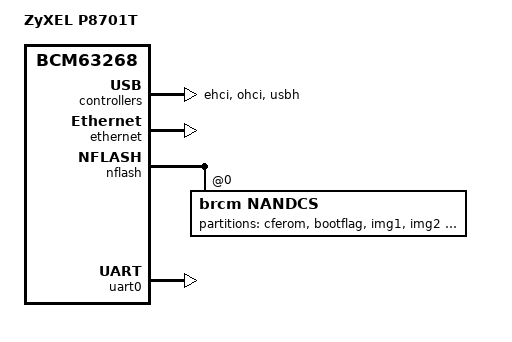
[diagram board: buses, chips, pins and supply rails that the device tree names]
// SPDX-License-Identifier: GPL-2.0-or-later

#include "bcm63268.dtsi"

/ {
	model = "ZyXEL P8701T";
	compatible = "zyxel,p8701t", "brcm,bcm63168", "brcm,bcm63268";

/*
	aliases {
		led-boot = &led_power_green;
		led-failsafe = &led_power_green;
		led-running = &led_power_green;
		led-upgrade = &led_power_green;
	};

	keys {
		compatible = "gpio-keys-polled";
		poll-interval = <100>;

		reset {
			label = "reset";
			gpios = <&gpio 32 GPIO_ACTIVE_LOW>;
			linux,code = <KEY_RESTART>;
			debounce-interval = <60>;
		};

		wps {
			label = "wps";
			gpios = <&gpio 33 GPIO_ACTIVE_LOW>;
			linux,code = <KEY_WPS_BUTTON>;
			debounce-interval = <60>;
		};
	};
*/
};

&ehci {
	status = "okay";
};

&ethernet {
	status = "okay";

	nvmem-cells = <&macaddr_cferom_6a0>;
	nvmem-cell-names = "mac-address";
};

/*
&leds {
	status = "okay";

	brcm,serial-leds;
	brcm,serial-dat-low;
	brcm,serial-shift-inv;

	pinctrl-names = "default";
	pinctrl-0 = <&pinctrl_serial_led>;

	led_power_green: led@20 {
		reg = <20>;
		active-low;
		label = "green:power";
	};
};
*/

&nflash {
	status = "okay";

	nandcs@0 {
		compatible = "brcm,nandcs";
		reg = <0>;
		nand-ecc-step-size = <512>;
		nand-ecc-strength = <15>;
		nand-on-flash-bbt;
		brcm,nand-oob-sector-size = <64>;

		#address-cells = <1>;
		#size-cells = <1>;

		partitions {
			compatible = "fixed-partitions";
			#address-cells = <1>;
			#size-cells = <1>;

			cferom: partition@0 {
				label = "cferom";
				reg = <0x0000000 0x0020000>;
				read-only;
			};

			partition@20000 {
				label = "bootflag";
				reg = <0x0020000 0x0020000>;
				read-only;
			};

			partition@40000 {
				compatible = "zyxel,wfi";
				label = "img1";
				reg = <0x0040000 0x3fe0000>;
			};

			partition@4020000 {
				compatible = "zyxel,wfi";
				label = "img2";
				reg = <0x4020000 0x3ac0000>;
			};

			partition@7ea0000 {
				label = "data";
				reg = <0x7ea0000 0x0160000>;
			};
		};
	};
};

&ohci {
	status = "okay";
};

&switch0 {
	ports {
		port@0 {
			reg = <0>;
			label = "lan2";

			phy-handle = <&phy1>;
			phy-mode = "mii";
		};

		port@1 {
			reg = <1>;
			label = "lan3";

			phy-handle = <&phy2>;
			phy-mode = "mii";
		};

		port@2 {
			reg = <2>;
			label = "lan4";

			phy-handle = <&phy3>;
			phy-mode = "mii";
		};

		port@3 {
			reg = <3>;
			label = "lan1";

			phy-handle = <&phy4>;
			phy-mode = "mii";
		};
	};
};

&uart0 {
	status = "okay";
};

&usbh {
	status = "okay";
};

&cferom {
	compatible = "nvmem-cells";
	#address-cells = <1>;
	#size-cells = <1>;

	macaddr_cferom_6a0: macaddr@6a0 {
		reg = <0x6a0 0x6>;
	};
};
